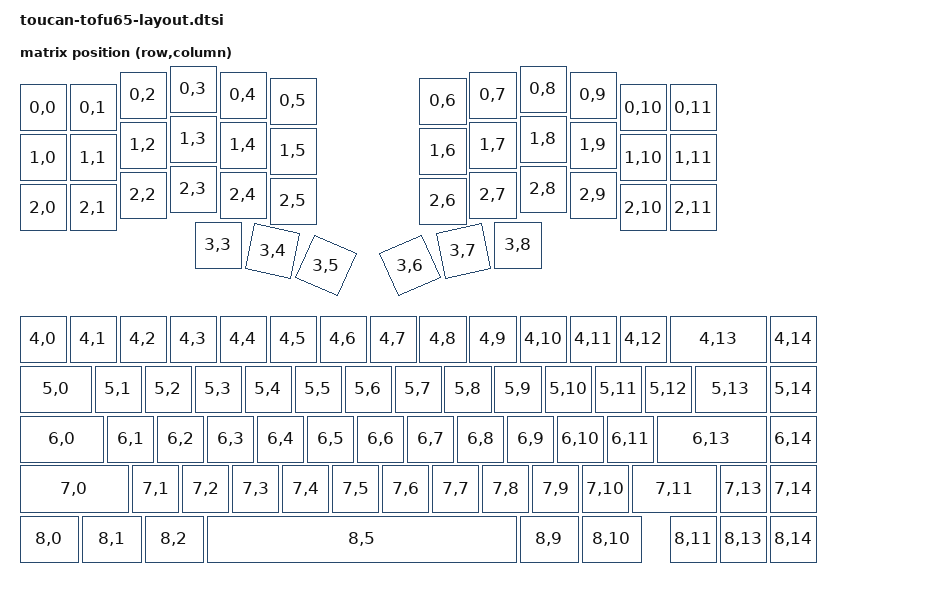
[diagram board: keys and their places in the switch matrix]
#include <physical_layouts.dtsi>
#include <dt-bindings/zmk/matrix_transform.h>

// Combined Toucan + Tofu65 key-position space, shared by the dongle (central) and the Tofu65
// (peripheral). Positions 0-41 are the Toucan in exactly the order of default_transform in
// toucan.dtsi, so the Toucan halves keep using their own 42-key transform unchanged.
// Positions 42-108 are the Tofu65 3.0 (ANSI, 2U backspace), kscan rows 0-4 shifted to rows 4-8
// by `row-offset = <4>` in toucan_tofu65.overlay. The Tofu65's 74HC595 drives 15 columns,
// hence columns = <15>.
/ {
    toucan_tofu65_transform: toucan_tofu65_transform {
        compatible = "zmk,matrix-transform";
        columns = <15>;
        rows = <9>;
        map = <
        // Toucan (0-41)
        RC(0,0) RC(0,1) RC(0,2) RC(0,3) RC(0,4) RC(0,5)  RC(0,6) RC(0,7) RC(0,8) RC(0,9) RC(0,10) RC(0,11)
        RC(1,0) RC(1,1) RC(1,2) RC(1,3) RC(1,4) RC(1,5)  RC(1,6) RC(1,7) RC(1,8) RC(1,9) RC(1,10) RC(1,11)
        RC(2,0) RC(2,1) RC(2,2) RC(2,3) RC(2,4) RC(2,5)  RC(2,6) RC(2,7) RC(2,8) RC(2,9) RC(2,10) RC(2,11)
                                RC(3,3) RC(3,4) RC(3,5)  RC(3,6) RC(3,7) RC(3,8)
        // Tofu65 (42-108)
        RC(4,0) RC(4,1) RC(4,2) RC(4,3) RC(4,4) RC(4,5) RC(4,6) RC(4,7) RC(4,8) RC(4,9) RC(4,10) RC(4,11) RC(4,12) RC(4,13) RC(4,14)
        RC(5,0) RC(5,1) RC(5,2) RC(5,3) RC(5,4) RC(5,5) RC(5,6) RC(5,7) RC(5,8) RC(5,9) RC(5,10) RC(5,11) RC(5,12) RC(5,13) RC(5,14)
        RC(6,0) RC(6,1) RC(6,2) RC(6,3) RC(6,4) RC(6,5) RC(6,6) RC(6,7) RC(6,8) RC(6,9) RC(6,10) RC(6,11)          RC(6,13) RC(6,14)
        RC(7,0) RC(7,1) RC(7,2) RC(7,3) RC(7,4) RC(7,5) RC(7,6) RC(7,7) RC(7,8) RC(7,9) RC(7,10) RC(7,11)          RC(7,13) RC(7,14)
        RC(8,0) RC(8,1) RC(8,2)                 RC(8,5)                 RC(8,9) RC(8,10) RC(8,11)                 RC(8,13) RC(8,14)
        >;
    };

    toucan_tofu65_layout: toucan_tofu65_layout {
        compatible = "zmk,physical-layout";
        display-name = "Toucan + Tofu65";
        transform = <&toucan_tofu65_transform>;

        keys  //                     w   h    x    y     rot    rx    ry
            = <&key_physical_attrs 100 100    0   37       0     0     0>
            , <&key_physical_attrs 100 100  100   37       0     0     0>
            , <&key_physical_attrs 100 100  200   12       0     0     0>
            , <&key_physical_attrs 100 100  300    0       0     0     0>
            , <&key_physical_attrs 100 100  400   12       0     0     0>
            , <&key_physical_attrs 100 100  500   24       0     0     0>
            , <&key_physical_attrs 100 100  800   24       0     0     0>
            , <&key_physical_attrs 100 100  900   12       0     0     0>
            , <&key_physical_attrs 100 100 1000    0       0     0     0>
            , <&key_physical_attrs 100 100 1100   12       0     0     0>
            , <&key_physical_attrs 100 100 1200   37       0     0     0>
            , <&key_physical_attrs 100 100 1300   37       0     0     0>
            , <&key_physical_attrs 100 100    0  137       0     0     0>
            , <&key_physical_attrs 100 100  100  137       0     0     0>
            , <&key_physical_attrs 100 100  200  112       0     0     0>
            , <&key_physical_attrs 100 100  300  100       0     0     0>
            , <&key_physical_attrs 100 100  400  112       0     0     0>
            , <&key_physical_attrs 100 100  500  124       0     0     0>
            , <&key_physical_attrs 100 100  800  124       0     0     0>
            , <&key_physical_attrs 100 100  900  112       0     0     0>
            , <&key_physical_attrs 100 100 1000  100       0     0     0>
            , <&key_physical_attrs 100 100 1100  112       0     0     0>
            , <&key_physical_attrs 100 100 1200  137       0     0     0>
            , <&key_physical_attrs 100 100 1300  137       0     0     0>
            , <&key_physical_attrs 100 100    0  237       0     0     0>
            , <&key_physical_attrs 100 100  100  237       0     0     0>
            , <&key_physical_attrs 100 100  200  212       0     0     0>
            , <&key_physical_attrs 100 100  300  200       0     0     0>
            , <&key_physical_attrs 100 100  400  212       0     0     0>
            , <&key_physical_attrs 100 100  500  224       0     0     0>
            , <&key_physical_attrs 100 100  800  224       0     0     0>
            , <&key_physical_attrs 100 100  900  212       0     0     0>
            , <&key_physical_attrs 100 100 1000  200       0     0     0>
            , <&key_physical_attrs 100 100 1100  212       0     0     0>
            , <&key_physical_attrs 100 100 1200  237       0     0     0>
            , <&key_physical_attrs 100 100 1300  237       0     0     0>
            , <&key_physical_attrs 100 100  350  312       0     0     0>
            , <&key_physical_attrs 100 100  450  312    1200   450   412>
            , <&key_physical_attrs 100 100  548  328    2400   548   433>
            , <&key_physical_attrs 100 100  752  328  (-2400)  852   433>
            , <&key_physical_attrs 100 100  850  312  (-1200)  950   412>
            , <&key_physical_attrs 100 100  950  312       0     0     0>
            , <&key_physical_attrs 100 100    0  500       0     0     0>
            , <&key_physical_attrs 100 100  100  500       0     0     0>
            , <&key_physical_attrs 100 100  200  500       0     0     0>
            , <&key_physical_attrs 100 100  300  500       0     0     0>
            , <&key_physical_attrs 100 100  400  500       0     0     0>
            , <&key_physical_attrs 100 100  500  500       0     0     0>
            , <&key_physical_attrs 100 100  600  500       0     0     0>
            , <&key_physical_attrs 100 100  700  500       0     0     0>
            , <&key_physical_attrs 100 100  800  500       0     0     0>
            , <&key_physical_attrs 100 100  900  500       0     0     0>
            , <&key_physical_attrs 100 100 1000  500       0     0     0>
            , <&key_physical_attrs 100 100 1100  500       0     0     0>
            , <&key_physical_attrs 100 100 1200  500       0     0     0>
            , <&key_physical_attrs 200 100 1300  500       0     0     0>
            , <&key_physical_attrs 100 100 1500  500       0     0     0>
            , <&key_physical_attrs 150 100    0  600       0     0     0>
            , <&key_physical_attrs 100 100  150  600       0     0     0>
            , <&key_physical_attrs 100 100  250  600       0     0     0>
            , <&key_physical_attrs 100 100  350  600       0     0     0>
            , <&key_physical_attrs 100 100  450  600       0     0     0>
            , <&key_physical_attrs 100 100  550  600       0     0     0>
            , <&key_physical_attrs 100 100  650  600       0     0     0>
            , <&key_physical_attrs 100 100  750  600       0     0     0>
            , <&key_physical_attrs 100 100  850  600       0     0     0>
            , <&key_physical_attrs 100 100  950  600       0     0     0>
            , <&key_physical_attrs 100 100 1050  600       0     0     0>
            , <&key_physical_attrs 100 100 1150  600       0     0     0>
            , <&key_physical_attrs 100 100 1250  600       0     0     0>
            , <&key_physical_attrs 150 100 1350  600       0     0     0>
            , <&key_physical_attrs 100 100 1500  600       0     0     0>
            , <&key_physical_attrs 175 100    0  700       0     0     0>
            , <&key_physical_attrs 100 100  175  700       0     0     0>
            , <&key_physical_attrs 100 100  275  700       0     0     0>
            , <&key_physical_attrs 100 100  375  700       0     0     0>
            , <&key_physical_attrs 100 100  475  700       0     0     0>
            , <&key_physical_attrs 100 100  575  700       0     0     0>
            , <&key_physical_attrs 100 100  675  700       0     0     0>
            , <&key_physical_attrs 100 100  775  700       0     0     0>
            , <&key_physical_attrs 100 100  875  700       0     0     0>
            , <&key_physical_attrs 100 100  975  700       0     0     0>
            , <&key_physical_attrs 100 100 1075  700       0     0     0>
            , <&key_physical_attrs 100 100 1175  700       0     0     0>
            , <&key_physical_attrs 225 100 1275  700       0     0     0>
            , <&key_physical_attrs 100 100 1500  700       0     0     0>
            , <&key_physical_attrs 225 100    0  800       0     0     0>
            , <&key_physical_attrs 100 100  225  800       0     0     0>
            , <&key_physical_attrs 100 100  325  800       0     0     0>
            , <&key_physical_attrs 100 100  425  800       0     0     0>
            , <&key_physical_attrs 100 100  525  800       0     0     0>
            , <&key_physical_attrs 100 100  625  800       0     0     0>
            , <&key_physical_attrs 100 100  725  800       0     0     0>
            , <&key_physical_attrs 100 100  825  800       0     0     0>
            , <&key_physical_attrs 100 100  925  800       0     0     0>
            , <&key_physical_attrs 100 100 1025  800       0     0     0>
            , <&key_physical_attrs 100 100 1125  800       0     0     0>
            , <&key_physical_attrs 175 100 1225  800       0     0     0>
            , <&key_physical_attrs 100 100 1400  800       0     0     0>
            , <&key_physical_attrs 100 100 1500  800       0     0     0>
            , <&key_physical_attrs 125 100    0  900       0     0     0>
            , <&key_physical_attrs 125 100  125  900       0     0     0>
            , <&key_physical_attrs 125 100  250  900       0     0     0>
            , <&key_physical_attrs 625 100  375  900       0     0     0>
            , <&key_physical_attrs 125 100 1000  900       0     0     0>
            , <&key_physical_attrs 125 100 1125  900       0     0     0>
            , <&key_physical_attrs 100 100 1300  900       0     0     0>
            , <&key_physical_attrs 100 100 1400  900       0     0     0>
            , <&key_physical_attrs 100 100 1500  900       0     0     0>
            ;
    };
};
